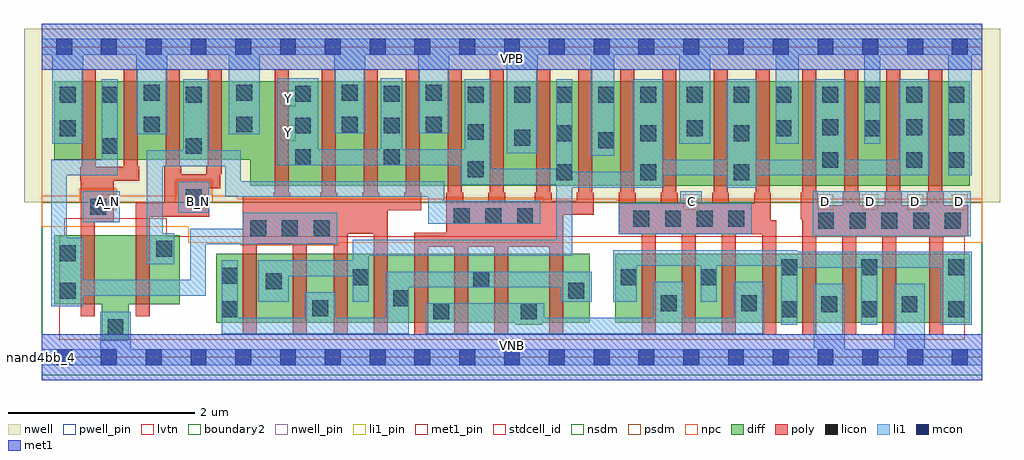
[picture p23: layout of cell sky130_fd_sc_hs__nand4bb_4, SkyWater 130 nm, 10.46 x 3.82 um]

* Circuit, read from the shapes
.subckt sky130_fd_sc_hs__nand4bb_4 A_N B_N C D VGND VNB VPB VPWR Y
XM1 VGND A_N n1 VNB sky130_fd_pr__nfet_01v8_lvt w=0.74 l=0.15
XM2 n2 B_N VGND VNB sky130_fd_pr__nfet_01v8_lvt w=0.74 l=0.15
XM3 Y n1 n3 VNB sky130_fd_pr__nfet_01v8_lvt w=0.74 l=0.15 m=4
XM4 n4 n2 n3 VNB sky130_fd_pr__nfet_01v8_lvt w=0.74 l=0.15 m=4
XM5 n4 C n5 VNB sky130_fd_pr__nfet_01v8_lvt w=0.74 l=0.15 m=4
XM6 VGND D n5 VNB sky130_fd_pr__nfet_01v8_lvt w=0.74 l=0.15 m=4
XM7 n1 A_N VPWR VPB sky130_fd_pr__pfet_01v8 w=0.84 l=0.15 m=2
XM8 n2 B_N VPWR VPB sky130_fd_pr__pfet_01v8 w=0.84 l=0.15 m=2
XM9 Y n1 VPWR VPB sky130_fd_pr__pfet_01v8 w=1.12 l=0.15 m=4
XM10 Y n2 VPWR VPB sky130_fd_pr__pfet_01v8 w=1.12 l=0.15 m=4
XM11 Y C VPWR VPB sky130_fd_pr__pfet_01v8 w=1.12 l=0.15 m=4
XM12 Y D VPWR VPB sky130_fd_pr__pfet_01v8 w=1.12 l=0.15 m=4
.ends

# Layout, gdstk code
import gdstk
lib = gdstk.Library(unit=1e-6, precision=1e-09)
def R(c, l, rs):  # rectangles x0, y0, x1, y1
    for r in rs: c.add(gdstk.rectangle(r[:2], r[2:], *l))
def A(c, l, x, y, w, h, nx, ny, dx, dy):  # array of equal rectangles
    R(c, l, [(x+i*dx, y+j*dy, x+i*dx+w, y+j*dy+h) for i in range(nx) for j in range(ny)])
def P(c, l, *ps):  # polygons
    for p in ps: c.add(gdstk.Polygon(p, *l))
nwell_pin = (64, 16)
nwell = (64, 20)
diff = (65, 20)
poly = (66, 20)
licon = (66, 44)
li1_pin = (67, 16)
li1 = (67, 20)
mcon = (67, 44)
met1_pin = (68, 16)
met1 = (68, 20)
stdcell_id = (81, 4)
nsdm = (93, 44)
psdm = (94, 20)
npc = (95, 20)
pwell_pin = (122, 16)
lvtn = (125, 44)
boundary2 = (236, 0)

sky130_fd_sc_hs__nand4bb = lib.new_cell('sky130_fd_sc_hs__nand4bb_4')
R(sky130_fd_sc_hs__nand4bb, nwell_pin, [(0,3.085,10.08,3.33)])
R(sky130_fd_sc_hs__nand4bb, nwell, [(-0.19,1.66,10.27,3.52)])
R(sky130_fd_sc_hs__nand4bb, diff, [(6.145,0.37,9.945,1.11)])
P(sky130_fd_sc_hs__nand4bb, diff, [(1.48,1.31),(0.135,1.31),(0.135,0.57),(0.645,0.57),(0.645,0.18),(0.935,0.18),(0.935,0.57),(1.48,0.57)],
  [(5.875,1.11),(1.87,1.11),(1.87,0.37),(5.075,0.37),(5.075,0.35),(5.365,0.35),(5.365,0.37),(5.875,0.37)],
  [(9.945,2.96),(0.135,2.96),(0.135,2.12),(2.235,2.12),(2.235,1.84),(9.945,1.84)])
P(sky130_fd_sc_hs__nand4bb, poly, [(1.045,2.045),(1.03,2.045),(1.03,3.09),(0.88,3.09),(0.88,2.045),(0.58,2.045),(0.58,3.09),(0.43,3.09),(0.43,2.045),(0.415,2.045),(0.415,1.895),(0.42,1.895),(0.42,0.44),(0.57,0.44),(0.57,1.45),(0.77,1.45),(0.77,1.895),(1.045,1.895)],
  [(1.93,3.09),(1.78,3.09),(1.78,2.045),(1.765,2.045),(1.765,1.965),(1.495,1.965),(1.495,2.045),(1.48,2.045),(1.48,3.09),(1.33,3.09),(1.33,2.045),(1.315,2.045),(1.315,1.655),(1.01,1.655),(1.01,0.44),(1.16,0.44),(1.16,1.505),(1.795,1.505),(1.795,1.815),(1.915,1.815),(1.915,1.965),(1.93,1.965)],
  [(4.065,1.765),(4.05,1.765),(4.05,3.09),(3.9,3.09),(3.9,1.765),(3.885,1.765),(3.885,1.725),(3.615,1.725),(3.615,1.765),(3.6,1.765),(3.6,3.09),(3.45,3.09),(3.45,1.765),(3.435,1.765),(3.435,1.725),(3.165,1.725),(3.165,1.765),(3.15,1.765),(3.15,3.09),(3,3.09),(3,1.765),(2.985,1.765),(2.985,1.725),(2.665,1.725),(2.665,1.765),(2.65,1.765),(2.65,3.09),(2.5,3.09),(2.5,1.765),(2.485,1.765),(2.485,1.725),(2.155,1.725),(2.155,0.24),(2.305,0.24),(2.305,1.22),(2.69,1.22),(2.69,0.24),(2.84,0.24),(2.84,1.22),(3.13,1.22),(3.13,0.24),(3.28,0.24),(3.28,1.325),(3.56,1.325),(3.56,0.24),(3.71,0.24),(3.71,1.575),(4.065,1.575)],
  [(5.915,1.765),(5.9,1.765),(5.9,3.09),(5.75,3.09),(5.75,1.765),(5.735,1.765),(5.735,1.68),(5.465,1.68),(5.465,1.765),(5.45,1.765),(5.45,3.09),(5.3,3.09),(5.3,1.765),(5.285,1.765),(5.285,1.68),(4.965,1.68),(4.965,1.765),(4.95,1.765),(4.95,3.09),(4.8,3.09),(4.8,1.765),(4.785,1.765),(4.785,1.68),(4.515,1.68),(4.515,1.765),(4.5,1.765),(4.5,3.09),(4.35,3.09),(4.35,1.765),(4.335,1.765),(4.335,1.335),(3.99,1.335),(3.99,0.24),(4.14,0.24),(4.14,1.185),(4.42,1.185),(4.42,0.24),(4.57,0.24),(4.57,1.185),(4.85,1.185),(4.85,0.24),(5,0.24),(5,1.185),(5.44,1.185),(5.44,0.24),(5.59,0.24),(5.59,1.53),(5.915,1.53)],
  [(7.87,1.47),(7.815,1.47),(7.815,1.765),(7.8,1.765),(7.8,3.09),(7.65,3.09),(7.65,1.765),(7.635,1.765),(7.635,1.65),(7.365,1.65),(7.365,1.765),(7.35,1.765),(7.35,3.09),(7.2,3.09),(7.2,1.765),(7.185,1.765),(7.185,1.65),(6.815,1.65),(6.815,1.765),(6.8,1.765),(6.8,3.09),(6.65,3.09),(6.65,1.765),(6.635,1.765),(6.635,1.65),(6.365,1.65),(6.365,1.765),(6.35,1.765),(6.35,3.09),(6.2,3.09),(6.2,1.765),(6.185,1.765),(6.185,1.32),(6.43,1.32),(6.43,0.24),(6.58,0.24),(6.58,1.32),(6.86,1.32),(6.86,0.24),(7.01,0.24),(7.01,1.32),(7.29,1.32),(7.29,0.24),(7.44,0.24),(7.44,1.32),(7.72,1.32),(7.72,0.24),(7.87,0.24)],
  [(9.93,1.63),(9.665,1.63),(9.665,1.765),(9.65,1.765),(9.65,3.09),(9.5,3.09),(9.5,1.765),(9.485,1.765),(9.485,1.63),(9.215,1.63),(9.215,1.765),(9.2,1.765),(9.2,3.09),(9.05,3.09),(9.05,1.765),(9.035,1.765),(9.035,1.63),(8.765,1.63),(8.765,1.765),(8.75,1.765),(8.75,3.09),(8.6,3.09),(8.6,1.765),(8.585,1.765),(8.585,1.63),(8.315,1.63),(8.315,1.765),(8.3,1.765),(8.3,3.09),(8.15,3.09),(8.15,1.765),(8.135,1.765),(8.135,1.48),(8.15,1.48),(8.15,0.24),(8.3,0.24),(8.3,1.3),(8.58,1.3),(8.58,0.24),(8.73,0.24),(8.73,1.3),(9.01,1.3),(9.01,0.24),(9.16,0.24),(9.16,1.3),(9.51,1.3),(9.51,0.24),(9.66,0.24),(9.66,1.3),(9.93,1.3)])
A(sky130_fd_sc_hs__nand4bb, licon, 2.235, 1.3, 0.17, 0.17, 3, 1, 0.34, 0)
A(sky130_fd_sc_hs__nand4bb, licon, 8.32, 1.38, 0.17, 0.17, 5, 1, 0.34, 0)
A(sky130_fd_sc_hs__nand4bb, licon, 6.34, 1.4, 0.17, 0.17, 4, 1, 0.34, 0)
A(sky130_fd_sc_hs__nand4bb, licon, 4.415, 1.43, 0.17, 0.17, 3, 1, 0.34, 0)
A(sky130_fd_sc_hs__nand4bb, licon, 1.545, 1.63, 0.17, 0.17, 1, 3, 0, 0.55)
A(sky130_fd_sc_hs__nand4bb, licon, 7.415, 1.9, 0.17, 0.17, 1, 3, 0, 0.415)
A(sky130_fd_sc_hs__nand4bb, licon, 4.565, 1.93, 0.17, 0.17, 1, 3, 0, 0.4)
A(sky130_fd_sc_hs__nand4bb, licon, 2.715, 2.06, 0.17, 0.17, 1, 3, 0, 0.34)
A(sky130_fd_sc_hs__nand4bb, licon, 3.665, 2.06, 0.17, 0.17, 1, 3, 0, 0.34)
A(sky130_fd_sc_hs__nand4bb, licon, 6.915, 2.37, 0.17, 0.17, 3, 1, 0.95, 0)
A(sky130_fd_sc_hs__nand4bb, licon, 5.065, 2.73, 0.17, 0.17, 4, 1, 0.45, 0)
A(sky130_fd_sc_hs__nand4bb, licon, 8.365, 2.73, 0.17, 0.17, 4, 1, 0.45, 0)
R(sky130_fd_sc_hs__nand4bb, licon, [(0.705,0.24,0.875,0.41), (4.195,0.41,4.365,0.58), (5.135,0.41,5.305,0.58), (1.93,0.43,2.1,0.6), (7.925,0.43,8.095,0.6), (8.785,0.43,8.955,0.6), (9.715,0.43,9.885,0.6), (2.9,0.44,3.07,0.61), (8.355,0.485,8.525,0.655), (9.215,0.485,9.385,0.655), (6.635,0.495,6.805,0.665), (7.495,0.495,7.665,0.665), (3.765,0.55,3.935,0.72), (0.195,0.63,0.365,0.8), (5.645,0.63,5.815,0.8), (2.4,0.73,2.57,0.9), (4.625,0.75,4.795,0.92), (3.335,0.775,3.505,0.945), (6.205,0.775,6.375,0.945), (7.065,0.775,7.235,0.945), (1.93,0.79,2.1,0.96), (7.925,0.88,8.095,1.05), (8.785,0.88,8.955,1.05), (9.715,0.88,9.885,1.05), (0.195,1.03,0.365,1.2), (1.23,1.08,1.4,1.25), (0.52,1.53,0.69,1.7), (5.515,1.9,5.685,2.07), (6.415,1.9,6.585,2.07), (8.365,2.03,8.535,2.2), (9.265,2.03,9.435,2.2), (9.715,2.03,9.885,2.2), (0.645,2.18,0.815,2.35), (5.965,2.24,6.135,2.41), (5.065,2.27,5.235,2.44), (5.515,2.315,5.685,2.485), (6.415,2.315,6.585,2.485), (0.195,2.37,0.365,2.54), (8.365,2.38,8.535,2.55), (9.265,2.38,9.435,2.55), (9.715,2.38,9.885,2.55), (1.095,2.41,1.265,2.58), (2.085,2.41,2.255,2.58), (3.215,2.41,3.385,2.58), (4.115,2.41,4.285,2.58), (0.195,2.73,0.365,2.9), (0.645,2.73,0.815,2.9), (6.915,2.73,7.085,2.9), (7.865,2.73,8.035,2.9), (1.095,2.75,1.265,2.92), (2.085,2.75,2.255,2.92), (3.215,2.75,3.385,2.92), (4.115,2.75,4.285,2.92)])
A(sky130_fd_sc_hs__nand4bb, li1_pin, 8.315, 1.58, 0.17, 0.17, 4, 1, 0.48, 0)
R(sky130_fd_sc_hs__nand4bb, li1_pin, [(0.635,1.58,0.805,1.75), (1.595,1.58,1.765,1.75), (6.875,1.58,7.045,1.75), (2.555,2.32,2.725,2.49), (2.555,2.69,2.725,2.86)])
R(sky130_fd_sc_hs__nand4bb, li1, [(8.265,1.3,9.955,1.78), (0.44,1.45,0.835,1.78), (1.465,1.55,1.795,1.88)])
P(sky130_fd_sc_hs__nand4bb, li1, [(0,-0.085),(0,0.085),(0.625,0.085),(0.625,0.49),(0.955,0.49),(0.955,0.085),(8.275,0.085),(8.275,0.79),(8.605,0.79),(8.605,0.085),(9.135,0.085),(9.135,0.79),(9.465,0.79),(9.465,0.085),(10.08,0.085),(10.08,-0.085)],
  [(0,3.245),(0,3.415),(10.08,3.415),(10.08,3.245),(9.965,3.245),(9.965,1.95),(9.715,1.95),(9.715,3.245),(8.985,3.245),(8.985,2.29),(8.815,2.29),(8.815,3.245),(8.115,3.245),(8.115,2.29),(7.865,2.29),(7.865,3.245),(7.165,3.245),(7.165,2.29),(6.835,2.29),(6.835,3.245),(6.135,3.245),(6.135,2.16),(5.885,2.16),(5.885,3.245),(5.315,3.245),(5.315,2.19),(4.985,2.19),(4.985,3.245),(4.365,3.245),(4.365,2.4),(4.035,2.4),(4.035,3.245),(3.465,3.245),(3.465,2.4),(3.135,2.4),(3.135,3.245),(2.335,3.245),(2.335,2.39),(2.005,2.39),(2.005,3.245),(1.345,3.245),(1.345,2.39),(1.015,2.39),(1.015,3.245),(0.445,3.245),(0.445,2.29),(0.115,2.29),(0.115,3.245)],
  [(6.185,1.32),(6.185,1.65),(6.845,1.65),(6.845,1.78),(7.075,1.78),(7.075,1.65),(7.61,1.65),(7.61,1.32)],
  [(2.525,2.06),(2.525,2.99),(2.965,2.99),(2.965,2.23),(3.635,2.23),(3.635,2.99),(3.865,2.99),(3.865,2.23),(4.535,2.23),(4.535,2.98),(4.815,2.98),(4.815,2.02),(5.515,2.02),(5.515,2.98),(5.685,2.98),(5.685,1.99),(6.335,1.99),(6.335,2.98),(6.665,2.98),(6.665,2.12),(7.335,2.12),(7.335,2.98),(7.665,2.98),(7.665,2.12),(8.285,2.12),(8.285,2.98),(8.615,2.98),(8.615,2.12),(9.185,2.12),(9.185,2.98),(9.515,2.98),(9.515,1.95),(7.665,1.95),(7.665,1.82),(7.335,1.82),(7.335,1.95),(6.665,1.95),(6.665,1.82),(5.685,1.82),(5.685,1.09),(3.505,1.09),(3.505,0.595),(3.335,0.595),(3.335,0.87),(2.65,0.87),(2.65,0.595),(2.32,0.595),(2.32,1.04),(3.335,1.04),(3.335,1.26),(5.515,1.26),(5.515,1.85),(4.485,1.85),(4.485,2.06)],
  [(1.965,1.72),(1.965,2.05),(1.295,2.05),(1.295,1.33),(1.42,1.33),(1.42,1),(1.125,1),(1.125,2.22),(1.515,2.22),(1.515,2.98),(1.795,2.98),(1.795,2.22),(2.135,2.22),(2.135,1.89),(4.315,1.89),(4.315,1.68),(5.345,1.68),(5.345,1.43),(4.145,1.43),(4.145,1.72)],
  [(8.095,1.15),(8.095,1.13),(9.965,1.13),(9.965,0.35),(9.635,0.35),(9.635,0.96),(8.955,0.96),(8.955,0.35),(8.785,0.35),(8.785,0.96),(8.095,0.96),(8.095,0.35),(7.925,0.35),(7.925,0.98),(7.235,0.98),(7.235,0.595),(7.065,0.595),(7.065,0.98),(6.375,0.98),(6.375,0.595),(6.125,0.595),(6.125,1.15)],
  [(0.27,1.95),(0.27,1.28),(0.445,1.28),(0.445,0.83),(1.59,0.83),(1.59,1.38),(2.155,1.38),(2.155,1.55),(3.165,1.55),(3.165,1.21),(1.76,1.21),(1.76,0.66),(0.445,0.66),(0.445,0.55),(0.1,0.55),(0.1,2.12),(0.645,2.12),(0.645,2.98),(0.815,2.98),(0.815,1.95)],
  [(7.415,0.425),(7.415,0.81),(7.745,0.81),(7.745,0.255),(4.115,0.255),(4.115,0.58),(5.385,0.58),(5.385,0.425),(6.555,0.425),(6.555,0.81),(6.885,0.81),(6.885,0.425)],
  [(2.82,0.425),(2.82,0.7),(3.15,0.7),(3.15,0.425),(3.685,0.425),(3.685,0.92),(5.895,0.92),(5.895,0.595),(5.565,0.595),(5.565,0.75),(3.935,0.75),(3.935,0.255),(1.93,0.255),(1.93,1.04),(2.1,1.04),(2.1,0.425)])
A(sky130_fd_sc_hs__nand4bb, mcon, 0.155, -0.085, 0.17, 0.17, 21, 2, 0.48, 3.33)
R(sky130_fd_sc_hs__nand4bb, met1_pin, [(0,0,10.08,0.245), (0,3.085,10.08,3.33)])
R(sky130_fd_sc_hs__nand4bb, met1, [(0,-0.245,10.08,0.245), (0,3.085,10.08,3.575)])
R(sky130_fd_sc_hs__nand4bb, stdcell_id, [(0,0,10.08,3.33)])
R(sky130_fd_sc_hs__nand4bb, nsdm, [(0,-0.19,10.08,1.66)])
P(sky130_fd_sc_hs__nand4bb, psdm, [(10.08,3.52),(0,3.52),(0,1.66),(0.41,1.66),(0.41,1.81),(0.8,1.81),(0.8,1.66),(1.435,1.66),(1.435,1.91),(1.825,1.91),(1.825,1.66),(4.305,1.66),(4.305,1.71),(5.375,1.71),(5.375,1.66),(6.155,1.66),(6.155,1.68),(7.64,1.68),(7.64,1.66),(10.08,1.66)])
P(sky130_fd_sc_hs__nand4bb, npc, [(10.08,1.7),(2.095,1.7),(2.095,1.73),(1.815,1.73),(1.815,1.9),(1.445,1.9),(1.445,1.73),(0.79,1.73),(0.79,1.8),(0.42,1.8),(0.42,1.73),(0,1.73),(0,1.4),(1.57,1.4),(1.57,1.23),(2.135,1.23),(2.135,1.2),(3.185,1.2),(3.185,1.23),(10.08,1.23)])
R(sky130_fd_sc_hs__nand4bb, pwell_pin, [(0,0,10.08,0.245)])
P(sky130_fd_sc_hs__nand4bb, lvtn, [(9.89,1.3),(1.34,1.3),(1.34,1.49),(0.24,1.49),(0.24,1.3),(0.19,1.3),(0.19,0.19),(9.89,0.19)])
R(sky130_fd_sc_hs__nand4bb, boundary2, [(0,0,10.08,3.33)])
sky130_fd_sc_hs__nand4bb.add(gdstk.Label('nand4bb_4', (0,0), layer=83, texttype=44))
sky130_fd_sc_hs__nand4bb.add(gdstk.Label('VNB', (5.04,0.123), layer=64, texttype=59))
sky130_fd_sc_hs__nand4bb.add(gdstk.Label('VPB', (5.04,3.208), layer=64, texttype=5))
sky130_fd_sc_hs__nand4bb.add(gdstk.Label('VPWR', (5.04,3.208), layer=68, texttype=5))
sky130_fd_sc_hs__nand4bb.add(gdstk.Label('VGND', (5.04,0.123), layer=68, texttype=5))
sky130_fd_sc_hs__nand4bb.add(gdstk.Label('C', (6.96,1.665), layer=67, texttype=5))
sky130_fd_sc_hs__nand4bb.add(gdstk.Label('D', (8.4,1.665), layer=67, texttype=5))
sky130_fd_sc_hs__nand4bb.add(gdstk.Label('D', (8.88,1.665), layer=67, texttype=5))
sky130_fd_sc_hs__nand4bb.add(gdstk.Label('D', (9.36,1.665), layer=67, texttype=5))
sky130_fd_sc_hs__nand4bb.add(gdstk.Label('D', (9.84,1.665), layer=67, texttype=5))
sky130_fd_sc_hs__nand4bb.add(gdstk.Label('A_N', (0.72,1.665), layer=67, texttype=5))
sky130_fd_sc_hs__nand4bb.add(gdstk.Label('B_N', (1.68,1.665), layer=67, texttype=5))
sky130_fd_sc_hs__nand4bb.add(gdstk.Label('Y', (2.64,2.405), layer=67, texttype=5))
sky130_fd_sc_hs__nand4bb.add(gdstk.Label('Y', (2.64,2.775), layer=67, texttype=5))

lib.write_gds('sky130_fd_sc_hs__nand4bb_4.gds')
